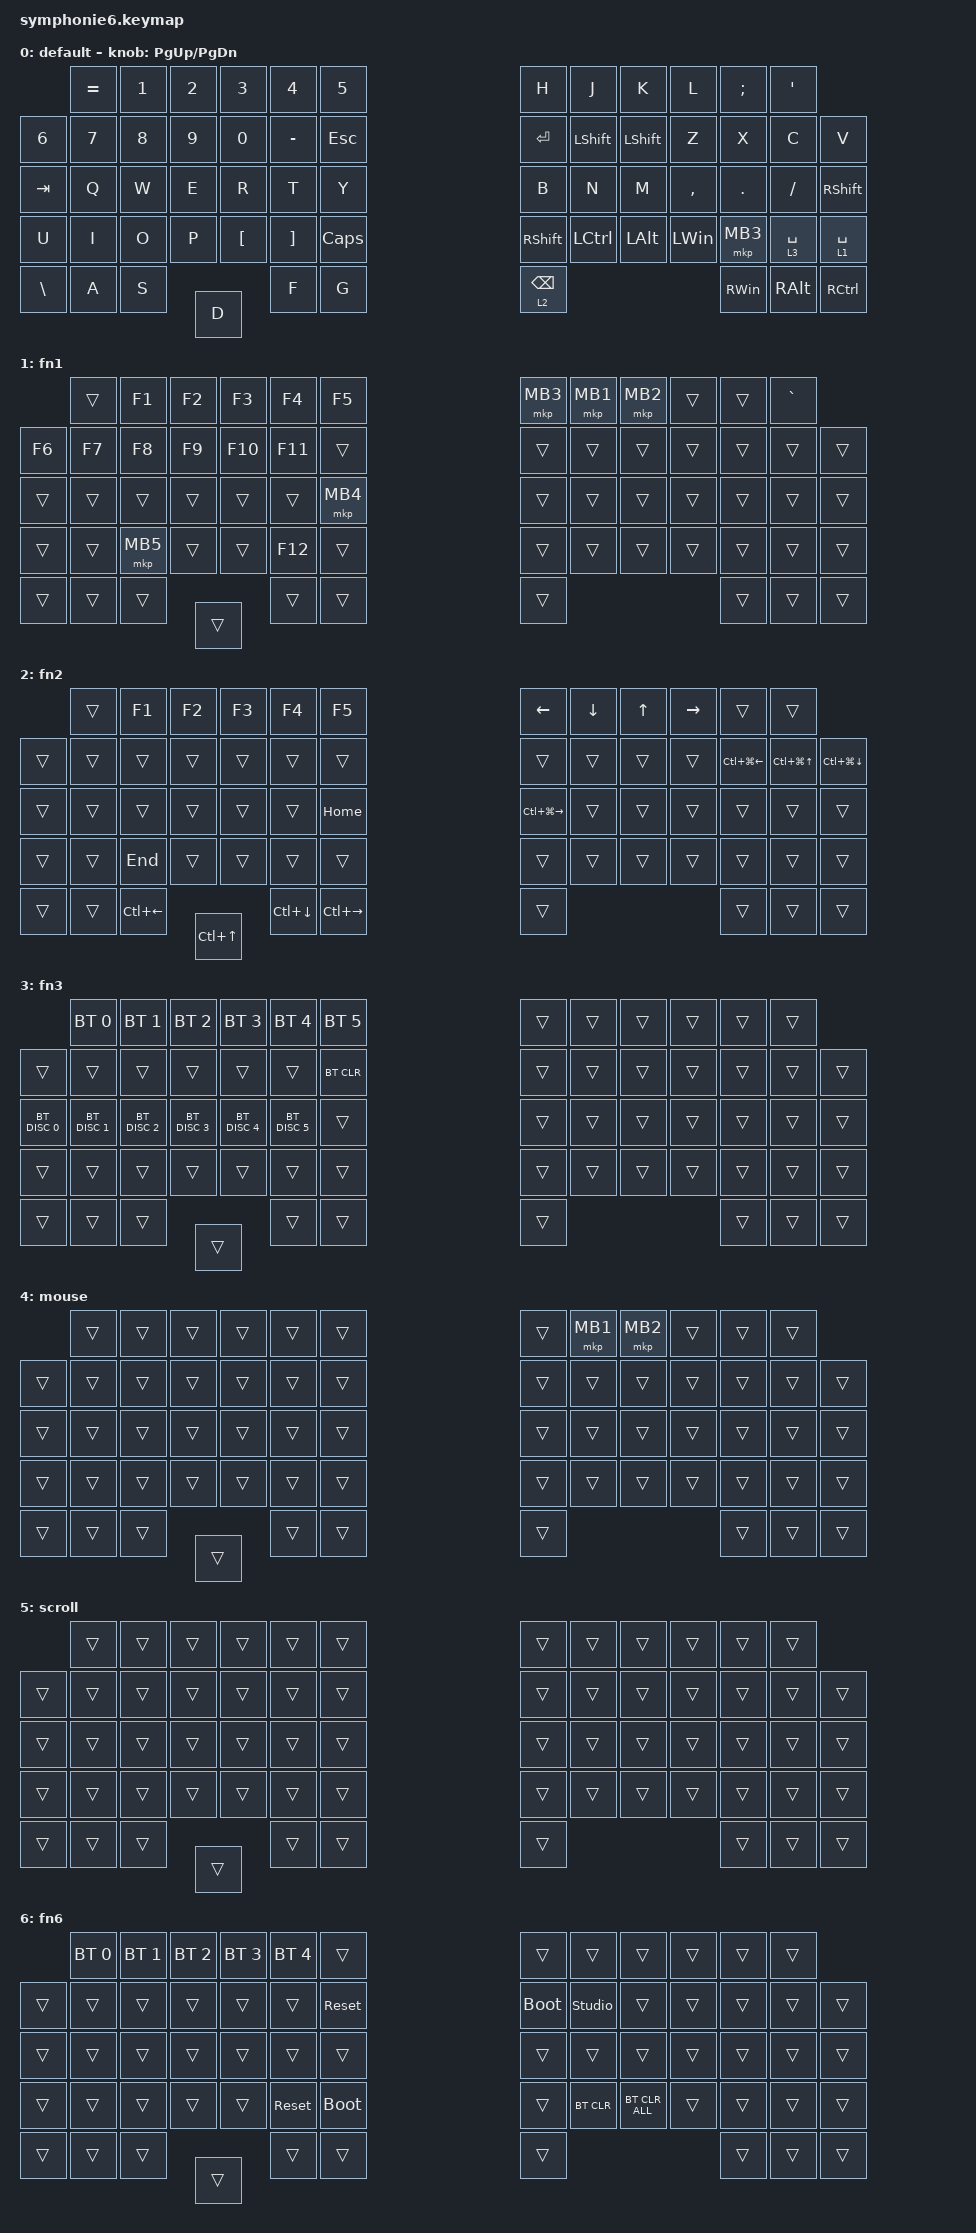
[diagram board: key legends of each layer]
#include <behaviors.dtsi>
#include <dt-bindings/zmk/bt.h>
#include <dt-bindings/zmk/keys.h>
#include <dt-bindings/zmk/pointing.h>

#define default 0
#define fn1 1
#define fn2 2
#define fn3 3
#define mouse 4
#define scroll 5
#define fn6 6

/ {
    keymap {
        compatible = "zmk,keymap";

        default { // Layer 0
            bindings = <
                            &kp EQUAL &kp N1   &kp N2   &kp N3   &kp N4       &kp N5            &kp N6   &kp N7   &kp N8    &kp N9     &kp N0   &kp MINUS
                &kp ESC     &kp TAB   &kp Q    &kp W    &kp E    &kp R        &kp T             &kp Y    &kp U    &kp I     &kp O      &kp P    &kp LBKT  &kp RBKT
                &kp CAPS    &kp BSLH  &kp A    &kp S    &kp D    &kp F        &kp G             &kp H    &kp J    &kp K     &kp L      &kp SEMI &kp SQT   &kp RET
                &kp LSHFT   &kp LSHFT &kp Z    &kp X    &kp C    &kp V        &kp B             &kp N    &kp M    &kp COMMA &kp PERIOD &kp FSLH &kp RSHFT &kp RSHFT 
                &kp LCTRL   &kp LALT  &kp LWIN     &mkp MB3      &lt 3 SPACE  &lt 1 SPACE       &lt 2 BSPC                             &kp RWIN &kp RALT  &kp RCTRL
            >;

            sensor-bindings = <&inc_dec_kp PG_UP PG_DN>;
        };

        fn1 {
            bindings = <
                       &trans &kp F1 &kp F2 &kp F3 &kp F4 &kp F5            &kp F6   &kp F7   &kp F8   &kp F9   &kp F10  &kp F11
                &trans &trans &trans &trans &trans &trans &trans            &mkp MB4 &trans   &trans   &mkp MB5 &trans   &trans    &kp F12
                &trans &trans &trans &trans &trans &trans &trans            &mkp MB3 &mkp MB1 &mkp MB2 &trans   &trans   &kp GRAVE &trans
                &trans &trans &trans &trans &trans &trans &trans            &trans   &trans   &trans   &trans   &trans   &trans    &trans 
                &trans &trans &trans     &trans    &trans &trans            &trans                              &trans   &trans    &trans
            >;
        };

        fn2 {
            bindings = <
                       &trans &kp F1 &kp F2           &kp F3         &kp F4           &kp F5                   &trans &trans &trans &trans &trans &trans
                &trans &trans &trans &trans           &trans         &trans           &trans                   &kp HOME &trans &trans &kp END &trans &trans &trans
                &trans &trans &trans &kp LC(LEFT)     &kp LC(UP)     &kp LC(DOWN)     &kp LC(RIGHT)            &kp LEFT &kp DOWN &kp UP &kp RIGHT &trans &trans &trans
                &trans &trans &trans &kp LC(LG(LEFT)) &kp LC(LG(UP)) &kp LC(LG(DOWN)) &kp LC(LG(RIGHT))        &trans &trans &trans &trans &trans &trans &trans 
                &trans &trans &trans          &trans                 &trans           &trans                   &trans                      &trans &trans &trans
            >;
        };

        fn3 {
            bindings = <
                           &bt BT_SEL 0  &bt BT_SEL 1  &bt BT_SEL 2  &bt BT_SEL 3  &bt BT_SEL 4  &bt BT_SEL 5             &trans &trans &trans &trans &trans &trans
                &bt BT_CLR &bt BT_DISC 0 &bt BT_DISC 1 &bt BT_DISC 2 &bt BT_DISC 3 &bt BT_DISC 4 &bt BT_DISC 5     &trans &trans &trans &trans &trans &trans &trans
                &trans     &trans        &trans        &trans        &trans        &trans        &trans            &trans &trans &trans &trans &trans &trans &trans
                &trans     &trans        &trans        &trans        &trans        &trans        &trans            &trans &trans &trans &trans &trans &trans &trans 
                &trans     &trans        &trans             &trans                 &trans        &trans            &trans                      &trans &trans &trans
            >;
        };

        mouse {
            bindings = <
                       &trans &trans &trans &trans &trans &trans            &trans &trans   &trans   &trans &trans &trans
                &trans &trans &trans &trans &trans &trans &trans            &trans &trans   &trans   &trans &trans &trans &trans
                &trans &trans &trans &trans &trans &trans &trans            &trans &mkp MB1 &mkp MB2 &trans &trans &trans &trans
                &trans &trans &trans &trans &trans &trans &trans            &trans &trans   &trans   &trans &trans &trans &trans 
                &trans &trans &trans     &trans    &trans &trans            &trans                          &trans &trans &trans
            >;
        };

        scroll {
            bindings = <
                       &trans &trans &trans &trans &trans &trans            &trans &trans &trans &trans &trans &trans
                &trans &trans &trans &trans &trans &trans &trans            &trans &trans &trans &trans &trans &trans &trans
                &trans &trans &trans &trans &trans &trans &trans            &trans &trans &trans &trans &trans &trans &trans
                &trans &trans &trans &trans &trans &trans &trans            &trans &trans &trans &trans &trans &trans &trans 
                &trans &trans &trans     &trans    &trans &trans            &trans                      &trans &trans &trans
            >;
        };

        fn6 {
            bindings = <
                               &bt BT_SEL 0   &bt BT_SEL 1 &bt BT_SEL 2 &bt BT_SEL 3 &bt BT_SEL 4 &trans            &trans &trans &trans &trans &trans &trans
                &sys_reset     &trans         &trans       &trans       &trans       &trans       &trans            &trans &trans &trans &trans &trans &trans &sys_reset
                &bootloader    &trans         &trans       &trans       &trans       &trans       &trans            &trans &trans &trans &trans &trans &trans &bootloader
                &studio_unlock &trans         &trans       &trans       &trans       &trans       &trans            &trans &trans &trans &trans &trans &trans &trans 
                &bt BT_CLR     &bt BT_CLR_ALL &trans             &trans              &trans       &trans            &trans                      &trans &trans &trans
            >;
        };
    };
 };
